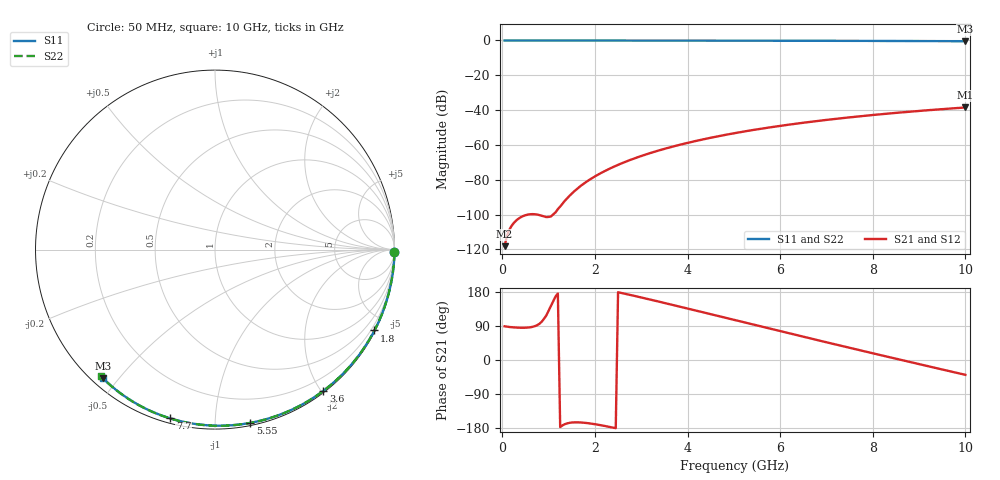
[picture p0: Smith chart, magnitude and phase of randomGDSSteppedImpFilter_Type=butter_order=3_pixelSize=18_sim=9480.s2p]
! freq	dB(S11)	phase(S11)	dB(S12)	phase(S12)
!  dB(S21)	phase(S21)	dB(S22)	phase(S22)
!S-par simulation data
#  GHz  S  DB  R 50
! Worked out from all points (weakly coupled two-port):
!   200 points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, 50 MHz to 10 GHz, reference 50 ohm
!   highest |S21| = -38.48 dB at 10 GHz (marker M1); lowest = -118.1 dB at 50 MHz (marker M2)
!   lowest |S11| = -0.4 dB at 10 GHz (marker M3), VSWR 39.13, Z = 1.54 - j22.7 ohm
!   |S11| at or under -10 dB: nowhere
!   |S22| runs from -0.4 to 0.0 dB; largest |S21 - S12| = 0
!   S11 on the Smith chart (normalised r, x): 50 MHz: open; 1.8 GHz: 0.04, -4.18; 3.6 GHz: 0.02, -2.02; 5.55 GHz: 0.02, -1.22; 7.7 GHz: 0.02, -0.77; 10 GHz: 0.03, -0.45
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0.05  -0.00 -0.8  -118.09 88.9  -118.09 88.9  -0.00 -0.8
0.9  -0.02 -13.6  -101.06 108.6  -101.06 108.6  -0.02 -13.7
1.75  -0.03 -26.1  -82.38 -165.4  -82.38 -165.4  -0.03 -26.3
1.8  -0.03 -26.9  -81.44 -166.0  -81.44 -166.0  -0.03 -27.1
1.85  -0.04 -27.6  -80.54 -166.7  -80.54 -166.7  -0.04 -27.8
1.9  -0.04 -28.3  -79.68 -167.5  -79.68 -167.5  -0.04 -28.5
2.05  -0.04 -30.5  -77.28 -170.4  -77.28 -170.4  -0.04 -30.7
2.25  -0.04 -33.4  -74.46 -174.9  -74.46 -174.9  -0.04 -33.7
2.45  -0.05 -36.3  -71.98 -179.9  -71.98 -179.9  -0.05 -36.6
2.65  -0.05 -39.2  -69.75 174.8  -69.75 174.8  -0.05 -39.4
3  -0.06 -44.2  -66.33 165.0  -66.33 165.0  -0.06 -44.5
3.4  -0.07 -49.8  -62.99 153.5  -62.99 153.5  -0.07 -50.1
3.6  -0.07 -52.6  -61.50 147.7  -61.50 147.7  -0.07 -52.9
4.3  -0.09 -62.1  -56.98 126.9  -56.98 126.9  -0.09 -62.5
5.05  -0.11 -72.1  -53.06 104.5  -53.06 104.5  -0.11 -72.5
5.55  -0.13 -78.5  -50.83 89.6  -50.83 89.6  -0.13 -79.0
6.1  -0.15 -85.5  -48.66 73.2  -48.66 73.2  -0.15 -86.0
6.7  -0.18 -92.9  -46.57 55.5  -46.57 55.5  -0.18 -93.5
7.7  -0.24 -104.9  -43.59 26.4  -43.59 26.4  -0.24 -105.5
8.35  -0.29 -112.4  -41.93 7.7  -41.93 7.7  -0.29 -113.2
9.15  -0.36 -121.6  -40.13 -15.1  -40.13 -15.1  -0.36 -122.4
10  -0.44 -131.2  -38.48 -39.1  -38.48 -39.1  -0.45 -132.1
